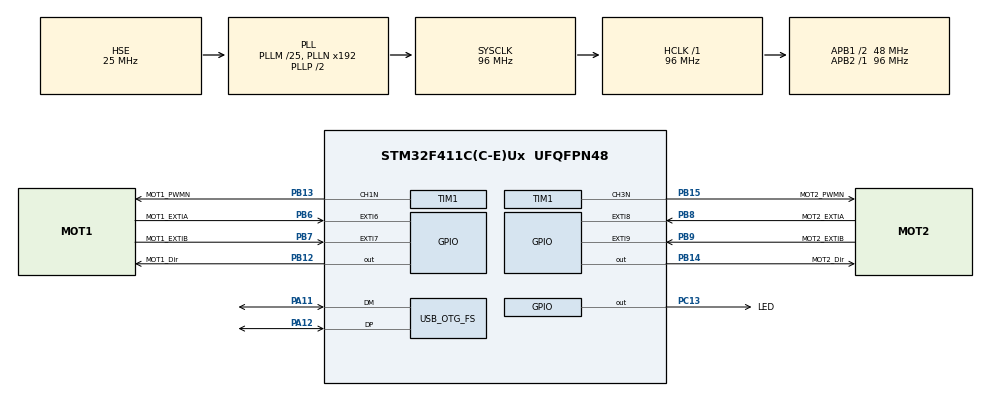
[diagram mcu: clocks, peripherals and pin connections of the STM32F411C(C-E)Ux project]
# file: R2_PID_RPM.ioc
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Mcu.Family=STM32F4
Mcu.Name=STM32F411C(C-E)Ux
Mcu.Package=UFQFPN48
NVIC.EXTI9_5_IRQn=true\:0\:0\:false\:false\:true\:true\:true\:true
NVIC.OTG_FS_IRQn=true\:0\:0\:false\:false\:true\:false\:true\:true
NVIC.PriorityGroup=NVIC_PRIORITYGROUP_4
NVIC.TIM4_IRQn=true\:0\:0\:false\:false\:true\:true\:true\:true
PA11.Mode=Device_Only
PA11.Signal=USB_OTG_FS_DM
PA12.Mode=Device_Only
PA12.Signal=USB_OTG_FS_DP
PB12.GPIO_Label=MOT1_Dir
PB12.Signal=GPIO_Output
PB13.GPIO_Label=MOT1_PWMN
PB13.Mode=PWM Generation1 CH1N
PB13.Signal=TIM1_CH1N
PB14.GPIO_Label=MOT2_Dir
PB14.Signal=GPIO_Output
PB15.GPIO_Label=MOT2_PWMN
PB15.Mode=PWM Generation3 CH3N
PB15.Signal=TIM1_CH3N
PB6.GPIO_Label=MOT1_EXTIA
PB6.GPIO_PuPd=GPIO_PULLDOWN
PB6.Signal=GPXTI6
PB7.GPIO_Label=MOT1_EXTIB
PB7.GPIO_ModeDefaultEXTI=GPIO_MODE_IT_RISING
PB7.GPIO_PuPd=GPIO_PULLDOWN
PB7.Signal=GPXTI7
PB8.GPIO_Label=MOT2_EXTIA
PB8.GPIO_PuPd=GPIO_PULLDOWN
PB8.Signal=GPXTI8
PB9.GPIO_Label=MOT2_EXTIB
PB9.GPIO_PuPd=GPIO_PULLDOWN
PB9.Signal=GPXTI9
PC13-ANTI_TAMP.GPIO_Label=LED
PC13-ANTI_TAMP.Signal=GPIO_Output
PH0\ -\ OSC_IN.Mode=HSE-External-Oscillator
PH0\ -\ OSC_IN.Signal=RCC_OSC_IN
PH1\ -\ OSC_OUT.Mode=HSE-External-Oscillator
PH1\ -\ OSC_OUT.Signal=RCC_OSC_OUT
ProjectManager.HeapSize=0x200
ProjectManager.StackSize=0x400
ProjectManager.TargetToolchain=STM32CubeIDE
RCC.48MHZClocksFreq_Value=48000000
RCC.AHBFreq_Value=96000000
RCC.APB1CLKDivider=RCC_HCLK_DIV2
RCC.APB1Freq_Value=48000000
RCC.APB1TimFreq_Value=96000000
RCC.APB2Freq_Value=96000000
RCC.APB2TimFreq_Value=96000000
RCC.CortexFreq_Value=96000000
RCC.HCLKFreq_Value=96000000
RCC.HSE_VALUE=25000000
RCC.HSI_VALUE=16000000
RCC.LSE_VALUE=32768
RCC.PLLM=25
RCC.SYSCLKFreq_VALUE=96000000
RCC.SYSCLKSource=RCC_SYSCLKSOURCE_PLLCLK
RCC.VCOOutputFreq_Value=192000000
TIM1.Channel-PWM\ Generation1\ CH1N=TIM_CHANNEL_1
TIM1.Channel-PWM\ Generation3\ CH3N=TIM_CHANNEL_3
TIM4.AutoReloadPreload=TIM_AUTORELOAD_PRELOAD_ENABLE
TIM4.Period=1000
TIM4.Prescaler=95
USB_DEVICE.CLASS_NAME_FS=CDC
USB_DEVICE.VirtualMode=Cdc
USB_DEVICE.VirtualModeFS=Cdc_FS
USB_OTG_FS.VirtualMode=Device_Only
VP_TIM1_VS_ClockSourceINT.Mode=Internal
VP_TIM4_VS_ClockSourceINT.Mode=Internal
VP_USB_DEVICE_VS_USB_DEVICE_CDC_FS.Mode=CDC_FS
board=custom

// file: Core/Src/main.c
/* USER CODE BEGIN Header */
/**
 ******************************************************************************
 * @file           : main.c
 * @brief          : Main program body
 ******************************************************************************
 * @attention
 *
 * Copyright (c) 2024 STMicroelectronics.
 * All rights reserved.
 *
 * This software is licensed under terms that can be found in the LICENSE file
 * in the root directory of this software component.
 * If no LICENSE file comes with this software, it is provided AS-IS.
 *
 ******************************************************************************
 */
/* USER CODE END Header */
#include "main.h"
#include "usb_device.h"

/* USER CODE BEGIN Includes */
#include "usbd_cdc_if.h"
#include "string.h"

/* USER CODE END Includes */

/* USER CODE BEGIN PTD */
typedef struct {
	GPIO_TypeDef *PORT;
	uint16_t DIR_PIN;
	TIM_HandleTypeDef TIMER;
	uint32_t CHANNEL;
	uint16_t A_PIN;
	uint16_t B_PIN;
	uint8_t DIR;
	uint16_t PWM;
	uint16_t CUR_RPM;
	uint16_t TAR_RPM;
	uint32_t LAST_TICK;
} MOT_TypeDef;

/* USER CODE END PTD */

/* USER CODE BEGIN PD */
#define BUFFER_LENGTH 64
#define SOL_INTERVAL 10000

#define NO_OF_MOTORS 2
#define LEFT_SHIFT 1

#define KP 1
#define KD 1
#define KI 1

#define MAX_PWM 65535
#define MIN_PWM 0
/* USER CODE END PD */

TIM_HandleTypeDef htim1;
TIM_HandleTypeDef htim4;

/* USER CODE BEGIN PV */
char buffer[BUFFER_LENGTH];

uint8_t errorFlag = 0;

uint16_t ms = 0;
uint16_t output = 0;

uint32_t currentTime;

int16_t integral = 0;
int16_t previousError = 0;

MOT_TypeDef motor[NO_OF_MOTORS];

/* USER CODE END PV */

void SystemClock_Config(void);
static void MX_GPIO_Init(void);
static void MX_TIM1_Init(void);
static void MX_TIM4_Init(void);

/* USER CODE BEGIN 0 */
void updateTime() {
	currentTime = ms * 1000 + TIM4->CNT;
}

void updateEncoder(uint8_t motIndex) {
	updateTime();

	motor[motIndex].CUR_RPM = 60000000
			/ (currentTime - motor[motIndex].LAST_TICK);
}

void PIDController(float targetRPM, float currentRPM) {
	int16_t error = targetRPM - currentRPM;
	integral += error;
	int16_t derivative = error - previousError;
	output = (KP * error) + (KI * integral) + (KD * derivative);

	previousError = error;
}

int isCleared(char *buffer) {
	for (uint8_t i = 0; i < BUFFER_LENGTH; i++) {
		if (buffer[i] != '\0') {
			return 0;  // Buffer is not cleared
		}
	}
	return 1;  // Buffer is cleared
}

/* USER CODE END 0 */

int main(void) {
	/* USER CODE BEGIN 1 */
	uint32_t lastSOL = 0;

	char message[BUFFER_LENGTH + 20];

	motor[0].PORT = GPIOB;
	motor[0].DIR_PIN = GPIO_PIN_12;
	motor[0].TIMER = htim1;
	motor[0].CHANNEL = TIM_CHANNEL_1;
	motor[0].A_PIN = GPIO_PIN_6;
	motor[0].B_PIN = GPIO_PIN_7;

	motor[1].PORT = GPIOB;
	motor[1].DIR_PIN = GPIO_PIN_14;
	motor[1].TIMER = htim1;
	motor[1].CHANNEL = TIM_CHANNEL_3;
	motor[1].A_PIN = GPIO_PIN_8;
	motor[1].B_PIN = GPIO_PIN_9;

	for (uint8_t i = 0; i < NO_OF_MOTORS; i++) {
		motor[i].DIR = 0;
		motor[i].PWM = 0;
		motor[i].TAR_RPM = 0;
		motor[i].CUR_RPM = 0;
	}
	/* USER CODE END 1 */

	/* MCU Configuration--------------------------------------------------------*/

	/* Reset of all peripherals, Initializes the Flash interface and the Systick. */
	HAL_Init();

	/* Configure the system clock */
	SystemClock_Config();

	/* Initialize all configured peripherals */
	MX_GPIO_Init();
	MX_TIM1_Init();
	MX_USB_DEVICE_Init();
	MX_TIM4_Init();
	/* USER CODE BEGIN 2 */
	HAL_GPIO_WritePin(GPIOC, GPIO_PIN_13, GPIO_PIN_RESET);

	for (uint8_t i = 0; i < NO_OF_MOTORS; i++) {
		if ((HAL_TIMEx_PWMN_Start(&(motor[i].TIMER), motor[i].CHANNEL) == HAL_OK)) {
			sprintf(message, "Motor %d PWM initialised\n\r", i);
		} else {
			sprintf(message, "Error initialising motor %d PWM\n\r", i);
			errorFlag = 1;
		}

		HAL_GPIO_WritePin(motor[i].PORT, motor[i].DIR_PIN, GPIO_PIN_RESET);
		__HAL_TIM_SET_COMPARE(&(motor[i].TIMER), motor[i].CHANNEL, 0);

		CDC_Transmit_FS((uint8_t*) message, strlen(message));
		HAL_Delay(1);
	}

	if (!errorFlag) {
		sprintf(message, "All systems operational\n\r");
		CDC_Transmit_FS((uint8_t*) message, strlen(message));
		HAL_Delay(1);

		sprintf(message, "F411 Black Pill online\n\r");
		CDC_Transmit_FS((uint8_t*) message, strlen(message));
		HAL_Delay(1);
	} else {
		sprintf(message, "STM started with some errors\n\r");
		CDC_Transmit_FS((uint8_t*) message, strlen(message));
		HAL_Delay(1);
	}
	/* USER CODE END 2 */

	/* Infinite loop */
	/* USER CODE BEGIN WHILE */
	while (1) {
		updateTime();

		if (!isCleared(buffer)) {
			char receivedStr[BUFFER_LENGTH];

			sprintf(message, "String Received: %s\n\r", buffer);
			CDC_Transmit_FS((uint8_t*) message, strlen(message));
			HAL_Delay(1);

			sprintf(receivedStr, "%s", buffer);
			uint8_t receivedStrlen = strlen(receivedStr);

			if (receivedStr[receivedStrlen - 1] == 'A') {
				uint8_t arrIndex = NO_OF_MOTORS - 1;
				uint8_t multiplier = 1;

				for (uint8_t i = 0; i < NO_OF_MOTORS; i++) {
					motor[i].DIR = 0;
					motor[i].TAR_RPM = 0;
				}

				for (int8_t i = receivedStrlen - 2; i >= 0; i--) {
					if (receivedStr[i] >= '0' && receivedStr[i] <= '9') {
						motor[arrIndex].TAR_RPM += (receivedStr[i] - '0')
								* multiplier;
						multiplier *= 10;
					} else if (receivedStr[i] == '-') {
						motor[arrIndex].DIR = 1;
					} else if (receivedStr[i] == ',') {
						arrIndex--;
						multiplier = 1;
					}
				}

				for (uint8_t i = 0; i < NO_OF_MOTORS; i++) {
					HAL_GPIO_WritePin(motor[0].PORT, motor[0].DIR_PIN,
							motor[0].DIR);
				}
			}

			memset(buffer, '\0', BUFFER_LENGTH);

		} else if (currentTime - lastSOL >= SOL_INTERVAL) {
			CDC_Transmit_FS((uint8_t*) "SOL\n\r", strlen("SOL\n\r"));
			lastSOL = currentTime;
		}

		for (uint8_t i = 0; i < NO_OF_MOTORS; i++) {
			PIDController(motor[i].TAR_RPM, motor[i].CUR_RPM);

			if ((motor[i].PWM + output) >= MAX_PWM) {
				motor[i].PWM = MAX_PWM;
			} else if ((motor[i].PWM + output) <= MIN_PWM) {
				motor[i].PWM = MIN_PWM;
			} else {
				motor[i].PWM += output;
			}

			if(motor[i].TAR_RPM == 0){
				motor[i].PWM = 0;
			}

			__HAL_TIM_SET_COMPARE(&(motor[i].TIMER), motor[i].CHANNEL,
					motor[i].PWM << LEFT_SHIFT);

			sprintf(message, "Dir%d: %d Tar_RPM%d: %d Cur_RPM%d: %d PWM%d: %d\n\r", i, motor[i].DIR, i,
					motor[i].TAR_RPM, i, motor[i].CUR_RPM, i, motor[i].PWM);
			CDC_Transmit_FS((uint8_t*) message, strlen(message));
			HAL_Delay(1);	//Doesn't work without this line
		}

		HAL_Delay(1);
		/* USER CODE END WHILE */

	}
}

void SystemClock_Config(void) {
	RCC_OscInitTypeDef RCC_OscInitStruct = { 0 };
	RCC_ClkInitTypeDef RCC_ClkInitStruct = { 0 };

	/** Configure the main internal regulator output voltage
	 */
	__HAL_RCC_PWR_CLK_ENABLE();
	__HAL_PWR_VOLTAGESCALING_CONFIG(PWR_REGULATOR_VOLTAGE_SCALE1);

	/** Initializes the RCC Oscillators according to the specified parameters
	 * in the RCC_OscInitTypeDef structure.
	 */
	RCC_OscInitStruct.OscillatorType = RCC_OSCILLATORTYPE_HSE;
	RCC_OscInitStruct.HSEState = RCC_HSE_ON;
	RCC_OscInitStruct.PLL.PLLState = RCC_PLL_ON;
	RCC_OscInitStruct.PLL.PLLSource = RCC_PLLSOURCE_HSE;
	RCC_OscInitStruct.PLL.PLLM = 25;
	RCC_OscInitStruct.PLL.PLLN = 192;
	RCC_OscInitStruct.PLL.PLLP = RCC_PLLP_DIV2;
	RCC_OscInitStruct.PLL.PLLQ = 4;
	if (HAL_RCC_OscConfig(&RCC_OscInitStruct) != HAL_OK) {
		Error_Handler();
	}

	/** Initializes the CPU, AHB and APB buses clocks
	 */
	RCC_ClkInitStruct.ClockType = RCC_CLOCKTYPE_HCLK | RCC_CLOCKTYPE_SYSCLK
			| RCC_CLOCKTYPE_PCLK1 | RCC_CLOCKTYPE_PCLK2;
	RCC_ClkInitStruct.SYSCLKSource = RCC_SYSCLKSOURCE_PLLCLK;
	RCC_ClkInitStruct.AHBCLKDivider = RCC_SYSCLK_DIV1;
	RCC_ClkInitStruct.APB1CLKDivider = RCC_HCLK_DIV2;
	RCC_ClkInitStruct.APB2CLKDivider = RCC_HCLK_DIV1;

	if (HAL_RCC_ClockConfig(&RCC_ClkInitStruct, FLASH_LATENCY_3) != HAL_OK) {
		Error_Handler();
	}
}

static void MX_TIM1_Init(void) {

	TIM_ClockConfigTypeDef sClockSourceConfig = { 0 };
	TIM_MasterConfigTypeDef sMasterConfig = { 0 };
	TIM_OC_InitTypeDef sConfigOC = { 0 };
	TIM_BreakDeadTimeConfigTypeDef sBreakDeadTimeConfig = { 0 };

	htim1.Instance = TIM1;
	htim1.Init.Prescaler = 0;
	htim1.Init.CounterMode = TIM_COUNTERMODE_UP;
	htim1.Init.Period = 65535;
	htim1.Init.ClockDivision = TIM_CLOCKDIVISION_DIV1;
	htim1.Init.RepetitionCounter = 0;
	htim1.Init.AutoReloadPreload = TIM_AUTORELOAD_PRELOAD_DISABLE;
	if (HAL_TIM_Base_Init(&htim1) != HAL_OK) {
		Error_Handler();
	}
	sClockSourceConfig.ClockSource = TIM_CLOCKSOURCE_INTERNAL;
	if (HAL_TIM_ConfigClockSource(&htim1, &sClockSourceConfig) != HAL_OK) {
		Error_Handler();
	}
	if (HAL_TIM_PWM_Init(&htim1) != HAL_OK) {
		Error_Handler();
	}
	sMasterConfig.MasterOutputTrigger = TIM_TRGO_RESET;
	sMasterConfig.MasterSlaveMode = TIM_MASTERSLAVEMODE_DISABLE;
	if (HAL_TIMEx_MasterConfigSynchronization(&htim1, &sMasterConfig)
			!= HAL_OK) {
		Error_Handler();
	}
	sConfigOC.OCMode = TIM_OCMODE_PWM1;
	sConfigOC.Pulse = 0;
	sConfigOC.OCPolarity = TIM_OCPOLARITY_HIGH;
	sConfigOC.OCNPolarity = TIM_OCNPOLARITY_HIGH;
	sConfigOC.OCFastMode = TIM_OCFAST_DISABLE;
	sConfigOC.OCIdleState = TIM_OCIDLESTATE_RESET;
	sConfigOC.OCNIdleState = TIM_OCNIDLESTATE_RESET;
	if (HAL_TIM_PWM_ConfigChannel(&htim1, &sConfigOC, TIM_CHANNEL_1)
			!= HAL_OK) {
		Error_Handler();
	}
	if (HAL_TIM_PWM_ConfigChannel(&htim1, &sConfigOC, TIM_CHANNEL_3)
			!= HAL_OK) {
		Error_Handler();
	}
	sBreakDeadTimeConfig.OffStateRunMode = TIM_OSSR_DISABLE;
	sBreakDeadTimeConfig.OffStateIDLEMode = TIM_OSSI_DISABLE;
	sBreakDeadTimeConfig.LockLevel = TIM_LOCKLEVEL_OFF;
	sBreakDeadTimeConfig.DeadTime = 0;
	sBreakDeadTimeConfig.BreakState = TIM_BREAK_DISABLE;
	sBreakDeadTimeConfig.BreakPolarity = TIM_BREAKPOLARITY_HIGH;
	sBreakDeadTimeConfig.AutomaticOutput = TIM_AUTOMATICOUTPUT_DISABLE;
	if (HAL_TIMEx_ConfigBreakDeadTime(&htim1, &sBreakDeadTimeConfig)
			!= HAL_OK) {
		Error_Handler();
	}
	HAL_TIM_MspPostInit(&htim1);

}

static void MX_TIM4_Init(void) {

	TIM_ClockConfigTypeDef sClockSourceConfig = { 0 };
	TIM_MasterConfigTypeDef sMasterConfig = { 0 };

	htim4.Instance = TIM4;
	htim4.Init.Prescaler = 95;
	htim4.Init.CounterMode = TIM_COUNTERMODE_UP;
	htim4.Init.Period = 1000;
	htim4.Init.ClockDivision = TIM_CLOCKDIVISION_DIV1;
	htim4.Init.AutoReloadPreload = TIM_AUTORELOAD_PRELOAD_ENABLE;
	if (HAL_TIM_Base_Init(&htim4) != HAL_OK) {
		Error_Handler();
	}
	sClockSourceConfig.ClockSource = TIM_CLOCKSOURCE_INTERNAL;
	if (HAL_TIM_ConfigClockSource(&htim4, &sClockSourceConfig) != HAL_OK) {
		Error_Handler();
	}
	sMasterConfig.MasterOutputTrigger = TIM_TRGO_RESET;
	sMasterConfig.MasterSlaveMode = TIM_MASTERSLAVEMODE_DISABLE;
	if (HAL_TIMEx_MasterConfigSynchronization(&htim4, &sMasterConfig)
			!= HAL_OK) {
		Error_Handler();
	}

}

static void MX_GPIO_Init(void) {
	GPIO_InitTypeDef GPIO_InitStruct = { 0 };

	/* GPIO Ports Clock Enable */
	__HAL_RCC_GPIOC_CLK_ENABLE();
	__HAL_RCC_GPIOH_CLK_ENABLE();
	__HAL_RCC_GPIOB_CLK_ENABLE();
	__HAL_RCC_GPIOA_CLK_ENABLE();

	/*Configure GPIO pin Output Level */
	HAL_GPIO_WritePin(LED_GPIO_Port, LED_Pin, GPIO_PIN_RESET);

	/*Configure GPIO pin Output Level */
	HAL_GPIO_WritePin(GPIOB, MOT1_Dir_Pin | MOT2_Dir_Pin, GPIO_PIN_RESET);

	/*Configure GPIO pin : LED_Pin */
	GPIO_InitStruct.Pin = LED_Pin;
	GPIO_InitStruct.Mode = GPIO_MODE_OUTPUT_PP;
	GPIO_InitStruct.Pull = GPIO_NOPULL;
	GPIO_InitStruct.Speed = GPIO_SPEED_FREQ_LOW;
	HAL_GPIO_Init(LED_GPIO_Port, &GPIO_InitStruct);

	/*Configure GPIO pins : MOT1_Dir_Pin MOT2_Dir_Pin */
	GPIO_InitStruct.Pin = MOT1_Dir_Pin | MOT2_Dir_Pin;
	GPIO_InitStruct.Mode = GPIO_MODE_OUTPUT_PP;
	GPIO_InitStruct.Pull = GPIO_NOPULL;
	GPIO_InitStruct.Speed = GPIO_SPEED_FREQ_LOW;
	HAL_GPIO_Init(GPIOB, &GPIO_InitStruct);

	/*Configure GPIO pins : MOT1_EXTIA_Pin MOT1_EXTIB_Pin MOT2_EXTIA_Pin MOT2_EXTIB_Pin */
	GPIO_InitStruct.Pin = MOT1_EXTIA_Pin | MOT1_EXTIB_Pin | MOT2_EXTIA_Pin
			| MOT2_EXTIB_Pin;
	GPIO_InitStruct.Mode = GPIO_MODE_IT_RISING;
	GPIO_InitStruct.Pull = GPIO_PULLDOWN;
	HAL_GPIO_Init(GPIOB, &GPIO_InitStruct);

	/* EXTI interrupt init*/
	HAL_NVIC_SetPriority(EXTI9_5_IRQn, 0, 0);
	HAL_NVIC_EnableIRQ(EXTI9_5_IRQn);

}

/* USER CODE BEGIN 4 */
void HAL_TIM_PeriodElapsedCallback(TIM_HandleTypeDef *htim) {
	ms++;
	if (errorFlag) {
		HAL_GPIO_TogglePin(GPIOC, GPIO_PIN_13);
	}

}

void HAL_GPIO_EXTI_Callback(uint16_t GPIO_Pin) {
	if (GPIO_Pin == motor[0].A_PIN || GPIO_Pin == motor[0].B_PIN) {
		updateEncoder(0);
	} else if (GPIO_Pin == motor[1].A_PIN || GPIO_Pin == motor[1].B_PIN) {
		updateEncoder(1);
	}
}

/* USER CODE END 4 */

void Error_Handler(void) {
	__disable_irq();
	while (1) {
	}
}
